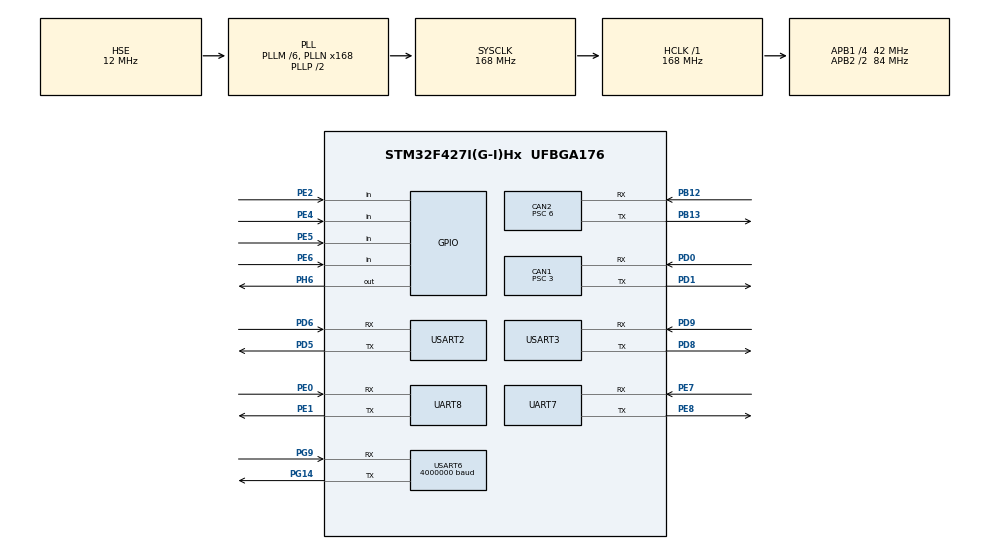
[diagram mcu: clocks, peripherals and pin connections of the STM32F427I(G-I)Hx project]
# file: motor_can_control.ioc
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CAN1.BS1=CAN_BS1_10TQ
CAN1.BS2=CAN_BS2_3TQ
CAN1.CalculateBaudRate=1000000
CAN1.CalculateTimeBit=1000
CAN1.CalculateTimeQuantum=71.42857142857143
CAN1.Prescaler=3
CAN2.BS1=CAN_BS1_10TQ
CAN2.BS2=CAN_BS2_3TQ
CAN2.CalculateBaudRate=500000
CAN2.CalculateTimeBit=2000
CAN2.CalculateTimeQuantum=142.85714285714286
CAN2.Prescaler=6
Dma.Request0=USART6_RX
Dma.Request1=USART3_RX
Dma.Request2=UART8_RX
Dma.Request3=UART8_TX
Dma.Request4=UART7_RX
Dma.Request5=USART2_RX
Dma.Request6=USART3_TX
Dma.UART7_RX.4.Direction=DMA_PERIPH_TO_MEMORY
Dma.UART7_RX.4.FIFOMode=DMA_FIFOMODE_DISABLE
Dma.UART7_RX.4.Instance=DMA1_Stream3
Dma.UART7_RX.4.MemDataAlignment=DMA_MDATAALIGN_BYTE
Dma.UART7_RX.4.MemInc=DMA_MINC_ENABLE
Dma.UART7_RX.4.Mode=DMA_CIRCULAR
Dma.UART7_RX.4.PeriphDataAlignment=DMA_PDATAALIGN_BYTE
Dma.UART7_RX.4.PeriphInc=DMA_PINC_DISABLE
Dma.UART7_RX.4.Priority=DMA_PRIORITY_LOW
Dma.UART8_RX.2.Direction=DMA_PERIPH_TO_MEMORY
Dma.UART8_RX.2.FIFOMode=DMA_FIFOMODE_DISABLE
Dma.UART8_RX.2.Instance=DMA1_Stream6
Dma.UART8_RX.2.MemDataAlignment=DMA_MDATAALIGN_BYTE
Dma.UART8_RX.2.MemInc=DMA_MINC_ENABLE
Dma.UART8_RX.2.Mode=DMA_CIRCULAR
Dma.UART8_RX.2.PeriphDataAlignment=DMA_PDATAALIGN_BYTE
Dma.UART8_RX.2.PeriphInc=DMA_PINC_DISABLE
Dma.UART8_RX.2.Priority=DMA_PRIORITY_LOW
Dma.UART8_TX.3.Direction=DMA_MEMORY_TO_PERIPH
Dma.UART8_TX.3.FIFOMode=DMA_FIFOMODE_DISABLE
Dma.UART8_TX.3.Instance=DMA1_Stream0
Dma.UART8_TX.3.MemDataAlignment=DMA_MDATAALIGN_BYTE
Dma.UART8_TX.3.MemInc=DMA_MINC_ENABLE
Dma.UART8_TX.3.Mode=DMA_NORMAL
Dma.UART8_TX.3.PeriphDataAlignment=DMA_PDATAALIGN_BYTE
Dma.UART8_TX.3.PeriphInc=DMA_PINC_DISABLE
Dma.UART8_TX.3.Priority=DMA_PRIORITY_LOW
Dma.USART2_RX.5.Direction=DMA_PERIPH_TO_MEMORY
Dma.USART2_RX.5.FIFOMode=DMA_FIFOMODE_DISABLE
Dma.USART2_RX.5.Instance=DMA1_Stream5
Dma.USART2_RX.5.MemDataAlignment=DMA_MDATAALIGN_BYTE
Dma.USART2_RX.5.MemInc=DMA_MINC_ENABLE
Dma.USART2_RX.5.Mode=DMA_CIRCULAR
Dma.USART2_RX.5.PeriphDataAlignment=DMA_PDATAALIGN_BYTE
Dma.USART2_RX.5.PeriphInc=DMA_PINC_DISABLE
Dma.USART2_RX.5.Priority=DMA_PRIORITY_LOW
Dma.USART3_RX.1.Direction=DMA_PERIPH_TO_MEMORY
Dma.USART3_RX.1.FIFOMode=DMA_FIFOMODE_DISABLE
Dma.USART3_RX.1.Instance=DMA1_Stream1
Dma.USART3_RX.1.MemDataAlignment=DMA_MDATAALIGN_BYTE
Dma.USART3_RX.1.MemInc=DMA_MINC_ENABLE
Dma.USART3_RX.1.Mode=DMA_CIRCULAR
Dma.USART3_RX.1.PeriphDataAlignment=DMA_PDATAALIGN_BYTE
Dma.USART3_RX.1.PeriphInc=DMA_PINC_DISABLE
Dma.USART3_RX.1.Priority=DMA_PRIORITY_LOW
Dma.USART3_TX.6.Direction=DMA_MEMORY_TO_PERIPH
Dma.USART3_TX.6.FIFOMode=DMA_FIFOMODE_DISABLE
Dma.USART3_TX.6.Instance=DMA1_Stream4
Dma.USART3_TX.6.MemDataAlignment=DMA_MDATAALIGN_BYTE
Dma.USART3_TX.6.MemInc=DMA_MINC_ENABLE
Dma.USART3_TX.6.Mode=DMA_NORMAL
Dma.USART3_TX.6.PeriphDataAlignment=DMA_PDATAALIGN_BYTE
Dma.USART3_TX.6.PeriphInc=DMA_PINC_DISABLE
Dma.USART3_TX.6.Priority=DMA_PRIORITY_LOW
Dma.USART6_RX.0.Direction=DMA_PERIPH_TO_MEMORY
Dma.USART6_RX.0.FIFOMode=DMA_FIFOMODE_DISABLE
Dma.USART6_RX.0.Instance=DMA2_Stream1
Dma.USART6_RX.0.MemDataAlignment=DMA_MDATAALIGN_BYTE
Dma.USART6_RX.0.MemInc=DMA_MINC_ENABLE
Dma.USART6_RX.0.Mode=DMA_CIRCULAR
Dma.USART6_RX.0.PeriphDataAlignment=DMA_PDATAALIGN_BYTE
Dma.USART6_RX.0.PeriphInc=DMA_PINC_DISABLE
Dma.USART6_RX.0.Priority=DMA_PRIORITY_LOW
FREERTOS.INCLUDE_vTaskDelayUntil=1
FREERTOS.Tasks01=MotorText,0,128,MotorTextTask,As weak,NULL,Dynamic,NULL,NULL
Mcu.Family=STM32F4
Mcu.Name=STM32F427I(G-I)Hx
Mcu.Package=UFBGA176
NVIC.CAN1_RX0_IRQn=true\:5\:0\:false\:false\:true\:true\:true\:true\:true
NVIC.CAN2_RX0_IRQn=true\:5\:0\:false\:false\:true\:true\:true\:true\:true
NVIC.DMA1_Stream0_IRQn=true\:5\:0\:false\:false\:true\:true\:false\:true\:true
NVIC.DMA1_Stream1_IRQn=true\:5\:0\:false\:false\:true\:true\:false\:true\:true
NVIC.DMA1_Stream3_IRQn=true\:5\:0\:false\:false\:true\:true\:false\:true\:true
NVIC.DMA1_Stream4_IRQn=true\:5\:0\:false\:false\:true\:true\:false\:true\:true
NVIC.DMA1_Stream5_IRQn=true\:5\:0\:false\:false\:true\:true\:false\:true\:true
NVIC.DMA1_Stream6_IRQn=true\:5\:0\:false\:false\:true\:true\:false\:true\:true
NVIC.DMA2_Stream1_IRQn=true\:5\:0\:false\:false\:true\:true\:false\:true\:true
NVIC.PriorityGroup=NVIC_PRIORITYGROUP_4
NVIC.TIM1_UP_TIM10_IRQn=true\:5\:0\:false\:false\:true\:true\:true\:true\:true
NVIC.TIM6_DAC_IRQn=true\:15\:0\:false\:false\:true\:false\:false\:true\:true
NVIC.TimeBase=TIM6_DAC_IRQn
NVIC.TimeBaseIP=TIM6
NVIC.UART7_IRQn=true\:5\:0\:false\:false\:true\:true\:true\:true\:true
NVIC.UART8_IRQn=true\:5\:0\:false\:false\:true\:true\:true\:true\:true
NVIC.USART2_IRQn=true\:5\:0\:false\:false\:true\:true\:true\:true\:true
NVIC.USART3_IRQn=true\:5\:0\:false\:false\:true\:true\:true\:true\:true
NVIC.USART6_IRQn=true\:5\:0\:false\:false\:true\:true\:true\:true\:true
PA13.Mode=Serial_Wire
PA13.Signal=SYS_JTMS-SWDIO
PA14.Mode=Serial_Wire
PA14.Signal=SYS_JTCK-SWCLK
PB12.Mode=CAN_Activate
PB12.Signal=CAN2_RX
PB13.Mode=CAN_Activate
PB13.Signal=CAN2_TX
PD0.Mode=CAN_Activate
PD0.Signal=CAN1_RX
PD1.Mode=CAN_Activate
PD1.Signal=CAN1_TX
PD5.Mode=Asynchronous
PD5.Signal=USART2_TX
PD6.Mode=Asynchronous
PD6.Signal=USART2_RX
PD8.Mode=Asynchronous
PD8.Signal=USART3_TX
PD9.Mode=Asynchronous
PD9.Signal=USART3_RX
PE0.Mode=Asynchronous
PE0.Signal=UART8_RX
PE1.Mode=Asynchronous
PE1.Signal=UART8_TX
PE2.GPIO_PuPd=GPIO_PULLDOWN
PE2.Signal=GPIO_Input
PE4.GPIO_PuPd=GPIO_PULLDOWN
PE4.Signal=GPIO_Input
PE5.GPIO_PuPd=GPIO_PULLDOWN
PE5.Signal=GPIO_Input
PE6.GPIO_PuPd=GPIO_PULLDOWN
PE6.Signal=GPIO_Input
PE7.Mode=Asynchronous
PE7.Signal=UART7_RX
PE8.Mode=Asynchronous
PE8.Signal=UART7_TX
PG14.Mode=Asynchronous
PG14.Signal=USART6_TX
PG9.Mode=Asynchronous
PG9.Signal=USART6_RX
PH0/OSC_IN.Mode=HSE-External-Oscillator
PH0/OSC_IN.Signal=RCC_OSC_IN
PH1/OSC_OUT.Mode=HSE-External-Oscillator
PH1/OSC_OUT.Signal=RCC_OSC_OUT
PH6.Signal=GPIO_Output
ProjectManager.HeapSize=0x200
ProjectManager.StackSize=0x400
ProjectManager.TargetToolchain=MDK-ARM V5
RCC.48MHZClocksFreq_Value=84000000
RCC.AHBFreq_Value=168000000
RCC.APB1CLKDivider=RCC_HCLK_DIV4
RCC.APB1Freq_Value=42000000
RCC.APB1TimFreq_Value=84000000
RCC.APB2CLKDivider=RCC_HCLK_DIV2
RCC.APB2Freq_Value=84000000
RCC.APB2TimFreq_Value=168000000
RCC.CortexFreq_Value=168000000
RCC.HCLKFreq_Value=168000000
RCC.HSE_VALUE=12000000
RCC.HSI_VALUE=16000000
RCC.LSE_VALUE=32768
RCC.PLLM=6
RCC.PLLN=168
RCC.PLLSourceVirtual=RCC_PLLSOURCE_HSE
RCC.SYSCLKFreq_VALUE=168000000
RCC.SYSCLKSource=RCC_SYSCLKSOURCE_PLLCLK
RCC.VCOOutputFreq_Value=336000000
TIM1.Period=99
TIM1.Prescaler=1679
UART7.VirtualMode=Asynchronous
UART8.VirtualMode=Asynchronous
USART2.VirtualMode=VM_ASYNC
USART3.VirtualMode=VM_ASYNC
USART6.BaudRate=4000000
USART6.VirtualMode=VM_ASYNC
VP_FREERTOS_VS_CMSIS_V1.Mode=CMSIS_V1
VP_SYS_VS_tim6.Mode=TIM6
VP_TIM1_VS_ClockSourceINT.Mode=Internal
board=custom

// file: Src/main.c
/* USER CODE BEGIN Header */
/**
  ******************************************************************************
  * @file           : main.c
  * @brief          : Main program body
  ******************************************************************************
  * @attention
  *
  * Copyright (c) 2024 STMicroelectronics.
  * All rights reserved.
  *
  * This software is licensed under terms that can be found in the LICENSE file
  * in the root directory of this software component.
  * If no LICENSE file comes with this software, it is provided AS-IS.
  *
  ******************************************************************************
  */
/* USER CODE END Header */
#include "main.h"
#include "cmsis_os.h"
#include "can.h"
#include "dma.h"
#include "tim.h"
#include "usart.h"
#include "gpio.h"

/* USER CODE BEGIN Includes */
#include "bsp.h"
/* USER CODE END Includes */

void SystemClock_Config(void);
void MX_FREERTOS_Init(void);

int main(void)
{

  /* MCU Configuration--------------------------------------------------------*/

  /* Reset of all peripherals, Initializes the Flash interface and the Systick. */
  HAL_Init();

  /* Configure the system clock */
  SystemClock_Config();

  /* Initialize all configured peripherals */
  MX_GPIO_Init();
  MX_DMA_Init();
  MX_CAN1_Init();
  MX_USART6_UART_Init();
  MX_TIM1_Init();
  MX_USART3_UART_Init();
  MX_UART8_Init();
  MX_UART7_Init();
  MX_CAN2_Init();
  MX_USART2_UART_Init();
  /* USER CODE BEGIN 2 */
  BSP_Init();
  /* USER CODE END 2 */

  /* Call init function for freertos objects (in freertos.c) */
  MX_FREERTOS_Init();

  /* Start scheduler */
  osKernelStart();

  /* We should never get here as control is now taken by the scheduler */
  /* Infinite loop */
  while (1)
  {

  }
}

void SystemClock_Config(void)
{
  RCC_OscInitTypeDef RCC_OscInitStruct = {0};
  RCC_ClkInitTypeDef RCC_ClkInitStruct = {0};

  /** Configure the main internal regulator output voltage
  */
  __HAL_RCC_PWR_CLK_ENABLE();
  __HAL_PWR_VOLTAGESCALING_CONFIG(PWR_REGULATOR_VOLTAGE_SCALE1);

  /** Initializes the RCC Oscillators according to the specified parameters
  * in the RCC_OscInitTypeDef structure.
  */
  RCC_OscInitStruct.OscillatorType = RCC_OSCILLATORTYPE_HSE;
  RCC_OscInitStruct.HSEState = RCC_HSE_ON;
  RCC_OscInitStruct.PLL.PLLState = RCC_PLL_ON;
  RCC_OscInitStruct.PLL.PLLSource = RCC_PLLSOURCE_HSE;
  RCC_OscInitStruct.PLL.PLLM = 6;
  RCC_OscInitStruct.PLL.PLLN = 168;
  RCC_OscInitStruct.PLL.PLLP = RCC_PLLP_DIV2;
  RCC_OscInitStruct.PLL.PLLQ = 4;
  if (HAL_RCC_OscConfig(&RCC_OscInitStruct) != HAL_OK)
  {
    Error_Handler();
  }

  /** Initializes the CPU, AHB and APB buses clocks
  */
  RCC_ClkInitStruct.ClockType = RCC_CLOCKTYPE_HCLK|RCC_CLOCKTYPE_SYSCLK
                              |RCC_CLOCKTYPE_PCLK1|RCC_CLOCKTYPE_PCLK2;
  RCC_ClkInitStruct.SYSCLKSource = RCC_SYSCLKSOURCE_PLLCLK;
  RCC_ClkInitStruct.AHBCLKDivider = RCC_SYSCLK_DIV1;
  RCC_ClkInitStruct.APB1CLKDivider = RCC_HCLK_DIV4;
  RCC_ClkInitStruct.APB2CLKDivider = RCC_HCLK_DIV2;

  if (HAL_RCC_ClockConfig(&RCC_ClkInitStruct, FLASH_LATENCY_5) != HAL_OK)
  {
    Error_Handler();
  }
}

void HAL_TIM_PeriodElapsedCallback(TIM_HandleTypeDef *htim)
{
  if (htim->Instance == TIM6) {
    HAL_IncTick();
  }
}

void Error_Handler(void)
{
  __disable_irq();
  while (1)
  {
  }
}

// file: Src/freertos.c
/* USER CODE BEGIN Header */
/**
  ******************************************************************************
  * File Name          : freertos.c
  * Description        : Code for freertos applications
  ******************************************************************************
  * @attention
  *
  * Copyright (c) 2024 STMicroelectronics.
  * All rights reserved.
  *
  * This software is licensed under terms that can be found in the LICENSE file
  * in the root directory of this software component.
  * If no LICENSE file comes with this software, it is provided AS-IS.
  *
  ******************************************************************************
  */
/* USER CODE END Header */

#include "FreeRTOS.h"
#include "task.h"
#include "main.h"
#include "cmsis_os.h"

/* USER CODE BEGIN Variables */
osThreadId CushionBall_Handle;
osThreadId AppRemote_Handle;
osThreadId ArmDrive_Handle;
osThreadId Vision_Handle;
osThreadId LightRemote_Handle;
//osThreadId Serve_Handle;
osThreadId HitBall_Handle;
/* USER CODE END Variables */
osThreadId MotorTextHandle;

/* USER CODE BEGIN FunctionPrototypes */
void CushionBall_Task(void const * argument);
void AppRemote_Task(void const * argument);
void ArmDrive_Task(void const * argument);
void Vision_Task(void const * argument);
void LightRemote_Task(void const * argument);
//void Serve_Task(void const * argument);
void HitBall_Task(void const * argument);
/* USER CODE END FunctionPrototypes */

void MotorTextTask(void const * argument);

void MX_FREERTOS_Init(void); /* (MISRA C 2004 rule 8.1) */

/* GetIdleTaskMemory prototype (linked to static allocation support) */
void vApplicationGetIdleTaskMemory( StaticTask_t **ppxIdleTaskTCBBuffer, StackType_t **ppxIdleTaskStackBuffer, uint32_t *pulIdleTaskStackSize );

/* USER CODE BEGIN GET_IDLE_TASK_MEMORY */
static StaticTask_t xIdleTaskTCBBuffer;
static StackType_t xIdleStack[configMINIMAL_STACK_SIZE];

void vApplicationGetIdleTaskMemory( StaticTask_t **ppxIdleTaskTCBBuffer, StackType_t **ppxIdleTaskStackBuffer, uint32_t *pulIdleTaskStackSize )
{
  *ppxIdleTaskTCBBuffer = &xIdleTaskTCBBuffer;
  *ppxIdleTaskStackBuffer = &xIdleStack[0];
  *pulIdleTaskStackSize = configMINIMAL_STACK_SIZE;
  /* place for user code */
}
/* USER CODE END GET_IDLE_TASK_MEMORY */

void MX_FREERTOS_Init(void) {

  /* Create the thread(s) */
  /* definition and creation of MotorText */
  osThreadDef(MotorText, MotorTextTask, osPriorityNormal, 0, 512);
  MotorTextHandle = osThreadCreate(osThread(MotorText), NULL);

  /* USER CODE BEGIN RTOS_THREADS */
  /* add threads, ... */
/**************************************数据处理任务**************************************/
  /*********App数据接收任务*********/
	osThreadDef(AppRemote, AppRemote_Task, osPriorityHigh, 0, 128);
	AppRemote_Handle = osThreadCreate(osThread(AppRemote), NULL);
	/*********视觉数据接收任务*********/
	osThreadDef(Vision, Vision_Task, osPriorityNormal, 0, 128);
	Vision_Handle = osThreadCreate(osThread(Vision), NULL);
	/*********光电传感器数据处理任务*********/
	osThreadDef(LightRemote, LightRemote_Task, osPriorityNormal, 0, 128);
	LightRemote_Handle = osThreadCreate(osThread(LightRemote), NULL);
/**************************************机械臂控制任务**************************************/
  /*********电机驱动任务*********/
	osThreadDef(ArmDrive, ArmDrive_Task, osPriorityNormal, 0, 128);
	ArmDrive_Handle = osThreadCreate(osThread(ArmDrive), NULL);
	/*********垫球任务*********/
	osThreadDef(CushionBall, CushionBall_Task, osPriorityNormal, 0, 128);
	CushionBall_Handle = osThreadCreate(osThread(CushionBall), NULL);
	/*********击球任务*********/
	osThreadDef(HitBall, HitBall_Task, osPriorityNormal, 0, 256);
	HitBall_Handle = osThreadCreate(osThread(HitBall), NULL);
  /* USER CODE END RTOS_THREADS */
}

__weak void MotorTextTask(void const * argument)
{
  for(;;)
  {
    osDelay(1);
  }
}

/* USER CODE BEGIN Application */
__weak void CushionBall_Task(void const * argument)
{
	for(;;)
	{
		osDelay(1);
	}
}

__weak void AppRemote_Task(void const * argument)
{
	for(;;)
	{
		osDelay(1);
	}
}

__weak void ArmDrive_Task(void const * argument)
{
	for(;;)
	{
		osDelay(1);
	}
}

__weak void Vision_Task(void const * argument)
{
	for(;;)
	{
		osDelay(1);
	}
}

__weak void LightRemote_Task(void const * argument)
{
	for(;;)
	{
		osDelay(1);
	}
}

//__weak void Serve_Task(void const * argument)
//{
//	for(;;)
//	{
//		osDelay(1);
//	}
//}

__weak void HitBall_Task(void const * argument)
{
	for(;;)
	{
		osDelay(1);
	}
}
/* USER CODE END Application */
